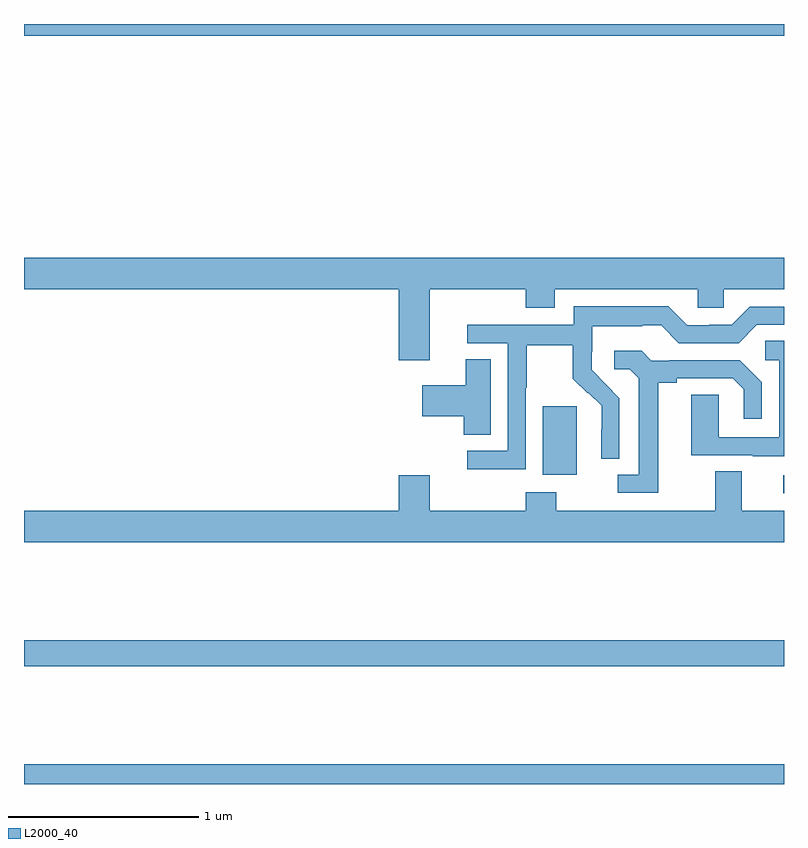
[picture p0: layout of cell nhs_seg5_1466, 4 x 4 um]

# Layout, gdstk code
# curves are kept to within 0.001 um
import gdstk
lib = gdstk.Library(unit=1e-6, precision=1e-09)
def R(c, l, rs):  # rectangles x0, y0, x1, y1
    for r in rs: c.add(gdstk.rectangle(r[:2], r[2:], *l))
def P(c, l, *ps):  # polygons
    for p in ps: c.add(gdstk.Polygon(p, *l))
L2000_40 = (2000, 40)

nhs_seg5_1466 = lib.new_cell('nhs_seg5_1466')
R(nhs_seg5_1466, L2000_40, [(199,876.799,203,876.904), (199,877.42,203,877.556), (202.995,878.328,203,878.424), (201.731,878.426,201.91,878.787), (199,880.736,203,880.799)])
P(nhs_seg5_1466, L2000_40, [(201.136,879.404),(201.641,879.404),(201.641,879.305),(201.793,879.305),(201.793,879.404),(202.545,879.404),(202.545,879.306),(202.683,879.306),(202.683,879.404),(203,879.404),(203,879.568),(199,879.568),(199,879.404),(200.972,879.404),(200.972,879.03),(201.136,879.03)],
  [(201.642,878.884),(201.645,878.884),(201.645,879.108),(201.889,879.108),(201.889,878.933),(201.966,878.856),(201.969,878.859),(202.04,878.789),(202.04,878.666),(202.038,878.666),(202.038,878.512),(202.134,878.512),(202.134,878.83),(201.988,878.978),(201.988,879.075),(201.99,879.075),(201.99,879.209),(202.253,879.209),(202.253,879.213),(202.353,879.213),(202.446,879.12),(202.761,879.12),(202.857,879.216),(203,879.216),(203,879.312),(202.821,879.312),(202.725,879.216),(202.607,879.216),(202.607,879.213),(202.491,879.213),(202.391,879.313),(201.894,879.313),(201.894,879.216),(201.333,879.216),(201.333,879.12),(201.546,879.12),(201.546,878.553),(201.333,878.553),(201.333,878.455),(201.642,878.455)],
  [(203,879.131),(202.902,879.131),(202.902,879.03),(202.974,879.03),(202.974,878.625),(202.656,878.625),(202.656,878.849),(202.511,878.849),(202.511,878.529),(202.835,878.529),(202.835,878.525),(203,878.525)],
  [(202.339,878.912),(202.435,878.912),(202.435,878.934),(202.73,878.934),(202.787,878.877),(202.787,878.721),(202.884,878.721),(202.884,878.914),(202.768,879.03),(202.396,879.03),(202.396,879.027),(202.302,879.027),(202.25,879.079),(202.107,879.079),(202.107,878.982),(202.188,878.982),(202.235,878.935),(202.235,878.427),(202.125,878.427),(202.125,878.331),(202.339,878.331)],
  [(201.457,879.035),(201.326,879.035),(201.326,878.899),(201.096,878.899),(201.096,878.734),(201.314,878.734),(201.314,878.638),(201.457,878.638)],
  [(203,878.236),(202.777,878.236),(202.777,878.444),(202.637,878.444),(202.637,878.236),(201.801,878.236),(201.801,878.335),(201.641,878.335),(201.641,878.236),(201.136,878.236),(201.136,878.425),(200.972,878.425),(200.972,878.236),(199,878.236),(199,878.072),(203,878.072)])

lib.write_gds('nhs_seg5_1466.gds')
